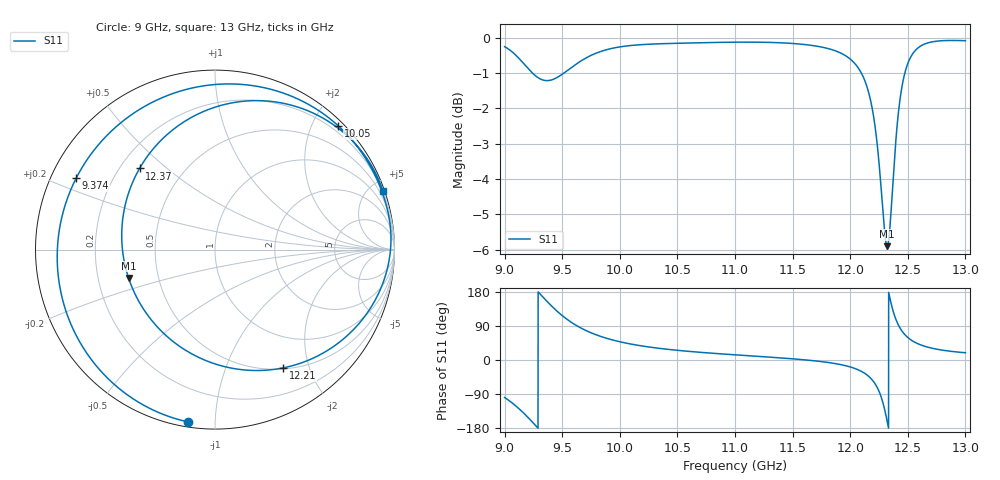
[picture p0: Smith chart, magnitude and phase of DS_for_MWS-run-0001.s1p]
! TOUCHSTONE file generated by CST DESIGN STUDIO
! Date and time: Tue Feb  4 18:45:03 2025
! Project name: C:\Work\MatlabApps\UnitCellOptimizationMatlab\CST\unitcell.cst
! Tree item: Tasks\Sweep1\SPara1\S-Parameters
! Header version: 2024
! Port assignment regex: !\s*Touchstone port\s*([0-9]+)\s*=\s*(CST MWS port|CST DES external port|CST DES block port)\s*(.+)\s* \(\"(.*)\"\)(\s*mode\s*([0-9]+))?.*
! Touchstone port assignment:
! Touchstone port 1 = CST DES external port 1 ("")
# GHz S MA R 50
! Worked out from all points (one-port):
!   4001 points, 9 GHz to 13 GHz, reference 50 ohm
!   lowest |S11| = -5.9 dB at 12.32 GHz (marker M1), VSWR 3.06, Z = 16.7 - j7.09 ohm
!   |S11| at or under -10 dB: nowhere
!   S11 on the Smith chart (normalised r, x): 9 GHz: 0.02, -0.85; 9.374 GHz: 0.07, +0.24; 10.05 GHz: 0.09, +2.41; 12.21 GHz: 0.51, -1.61; 12.37 GHz: 0.28, +0.41; 13 GHz: 0.17, +5.93
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9  0.9717 -98.9
9.109  0.941 -124.3
9.22  0.899 -156.9
9.295  0.8773 178.5
9.374  0.8699 152.8
9.5  0.8881 117.2
9.606  0.9143 94.2
9.741  0.9429 73.0
10  0.971 48.1
10.046  0.9734 45.1
10.5  0.9825 25.5
11  0.986 13.6
11.5  0.9819 3.1
11.799  0.9666 -6.1
12  0.9333 -18.3
12.125  0.8713 -34.9
12.21  0.7607 -60.0
12.27  0.6078 -98.5
12.295  0.5395 -125.5
12.321  0.5069 -161.9
12.344  0.5371 164.2
12.369  0.6173 132.9
12.395  0.7113 108.6
12.423  0.7953 89.6
12.5  0.9197 59.5
12.57  0.9616 45.4
12.665  0.9827 34.6
13  0.9908 19.1
